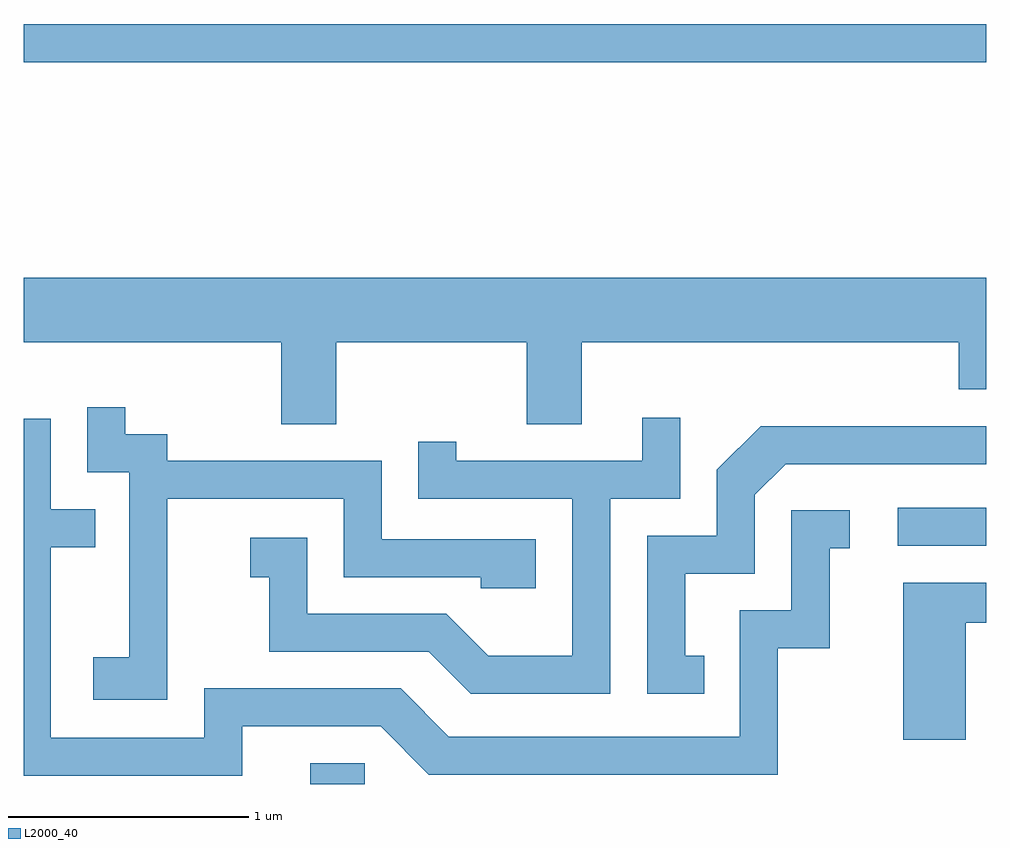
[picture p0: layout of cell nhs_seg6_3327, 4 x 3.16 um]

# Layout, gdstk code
import gdstk
lib = gdstk.Library(unit=1e-6, precision=1e-09)
def R(c, l, rs):  # rectangles x0, y0, x1, y1
    for r in rs: c.add(gdstk.rectangle(r[:2], r[2:], *l))
def P(c, l, *ps):  # polygons
    for p in ps: c.add(gdstk.Polygon(p, *l))
L2000_40 = (2000, 40)

nhs_seg6_3327 = lib.new_cell('nhs_seg6_3327')
R(nhs_seg6_3327, L2000_40, [(286.801,1588.162,287.029,1588.249), (289.243,1589.151,289.611,1589.309), (285.611,1591.161,289.611,1591.319)])
P(nhs_seg6_3327, L2000_40, [(286.909,1589.996),(287.701,1589.996),(287.701,1589.656),(287.929,1589.656),(287.929,1589.996),(289.496,1589.996),(289.496,1589.801),(289.611,1589.801),(289.611,1590.264),(285.611,1590.264),(285.611,1589.996),(286.681,1589.996),(286.681,1589.656),(286.909,1589.656)],
  [(286.209,1589.346),(286.941,1589.346),(286.941,1589.021),(287.511,1589.021),(287.511,1588.976),(287.739,1588.976),(287.739,1589.179),(287.099,1589.179),(287.099,1589.504),(286.209,1589.504),(286.209,1589.614),(286.034,1589.614),(286.034,1589.728),(285.876,1589.728),(285.876,1589.456),(286.051,1589.456),(286.051,1588.689),(285.901,1588.689),(285.901,1588.511),(286.209,1588.511)],
  [(288.049,1589.346),(288.339,1589.346),(288.339,1589.683),(288.181,1589.683),(288.181,1589.504),(287.409,1589.504),(287.409,1589.583),(287.251,1589.583),(287.251,1589.346),(287.891,1589.346),(287.891,1588.694),(287.542,1588.694),(287.367,1588.869),(286.789,1588.869),(286.789,1589.184),(286.553,1589.184),(286.553,1589.021),(286.631,1589.021),(286.631,1588.711),(287.294,1588.711),(287.469,1588.536),(288.049,1588.536)],
  [(286.519,1588.401),(287.094,1588.401),(287.294,1588.201),(288.744,1588.201),(288.744,1588.726),(288.959,1588.726),(288.959,1589.141),(289.043,1589.141),(289.043,1589.299),(288.801,1589.299),(288.801,1588.884),(288.586,1588.884),(288.586,1588.359),(287.377,1588.359),(287.177,1588.559),(286.361,1588.559),(286.361,1588.354),(285.724,1588.354),(285.724,1589.146),(285.908,1589.146),(285.908,1589.304),(285.724,1589.304),(285.724,1589.679),(285.611,1589.679),(285.611,1588.196),(286.519,1588.196)],
  [(288.438,1588.694),(288.359,1588.694),(288.359,1589.036),(288.649,1589.036),(288.649,1589.364),(288.777,1589.491),(289.611,1589.491),(289.611,1589.649),(288.674,1589.649),(288.491,1589.467),(288.491,1589.194),(288.201,1589.194),(288.201,1588.536),(288.438,1588.536)],
  [(289.524,1588.831),(289.611,1588.831),(289.611,1588.999),(289.266,1588.999),(289.266,1588.346),(289.524,1588.346)])

lib.write_gds('nhs_seg6_3327.gds')
